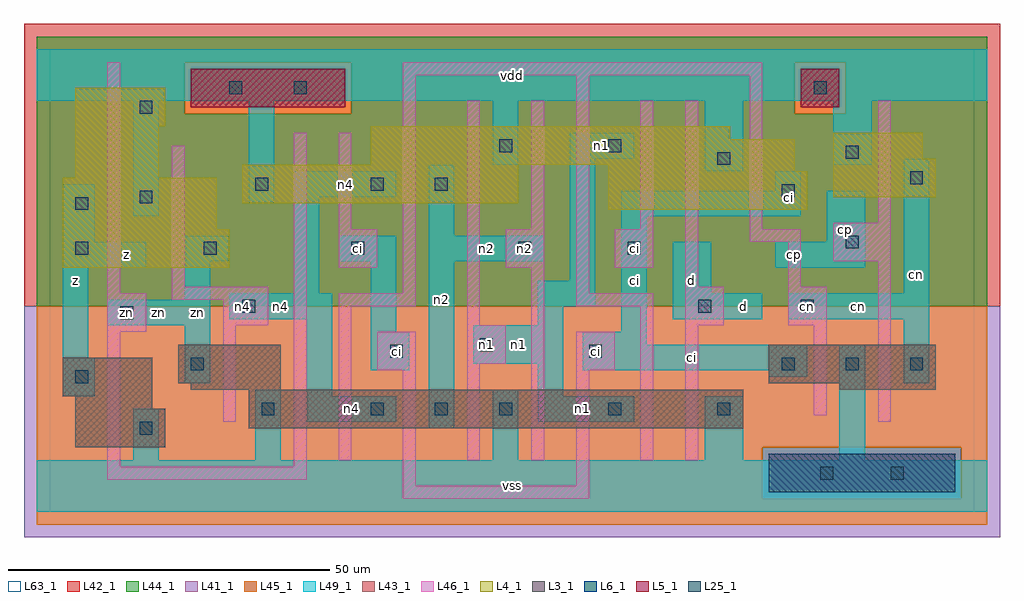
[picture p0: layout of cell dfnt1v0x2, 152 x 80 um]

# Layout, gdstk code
import gdstk
lib = gdstk.Library(unit=1e-6, precision=1e-09)
def R(c, l, rs):  # rectangles x0, y0, x1, y1
    for r in rs: c.add(gdstk.rectangle(r[:2], r[2:], *l))
def A(c, l, x, y, w, h, nx, ny, dx, dy):  # array of equal rectangles
    R(c, l, [(x+i*dx, y+j*dy, x+i*dx+w, y+j*dy+h) for i in range(nx) for j in range(ny)])
L3_1 = (3, 1)
L4_1 = (4, 1)
L5_1 = (5, 1)
L6_1 = (6, 1)
L25_1 = (25, 1)
L41_1 = (41, 1)
L42_1 = (42, 1)
L43_1 = (43, 1)
L44_1 = (44, 1)
L45_1 = (45, 1)
L46_1 = (46, 1)
L49_1 = (49, 1)
L63_1 = (63, 1)

dfnt1v0x2 = lib.new_cell('dfnt1v0x2')
R(dfnt1v0x2, L3_1, [(4,10,18,16), (31,13,108,19), (4,16,16,18), (2,18,16,24), (22,19,36,20), (123,19,138,20), (20,20,36,26), (112,20,138,26)])
R(dfnt1v0x2, L4_1, [(2,38,28,44), (2,44,26,52), (87,47,118,53), (30,48,73,54), (122,49,138,55), (4,52,17,60), (87,53,116,54), (50,54,116,58), (122,55,136,59), (50,58,106,60), (4,60,18,66)])
R(dfnt1v0x2, L5_1, [(22,63,46,69), (117,63,123,69)])
R(dfnt1v0x2, L6_1, [(112,3,141,9), (112,3,141,9)])
A(dfnt1v0x2, L25_1, 50, 15, 2, 2, 3, 1, 10, 0)
A(dfnt1v0x2, L25_1, 114, 22, 2, 2, 3, 1, 10, 0)
R(dfnt1v0x2, L25_1, [(120,5,122,7), (131,5,133,7), (14,12,16,14), (33,15,35,17), (87,15,89,17), (104,15,106,17), (4,20,6,22), (22,22,24,24), (53,24,55,26), (84,24,86,26), (67,25,69,27), (11,30,13,32), (30,31,32,33), (101,31,103,33), (117,31,119,33), (4,40,6,42), (24,40,26,42), (47,40,49,42), (73,40,75,42), (90,40,92,42), (124,41,126,43), (4,47,6,49), (14,48,16,50), (114,49,116,51), (32,50,34,52), (50,50,52,52), (60,50,62,52), (134,51,136,53), (104,54,106,56), (124,55,126,57), (70,56,72,58), (87,56,89,58), (14,62,16,64), (28,65,30,67), (38,65,40,67), (119,65,121,67)])
R(dfnt1v0x2, L41_1, [(-4,-4,148,32)])
R(dfnt1v0x2, L42_1, [(-4,32,148,76)])
R(dfnt1v0x2, L43_1, [(112,3,141,9), (4,10,18,16), (31,13,108,19), (4,16,16,18), (2,18,16,24), (22,19,36,20), (123,19,138,20), (20,20,36,26), (112,20,138,26), (2,38,28,44), (2,44,26,52), (87,47,118,53), (30,48,73,54), (122,49,138,55), (4,52,17,60), (87,53,116,54), (50,54,116,58), (122,55,136,59), (50,58,106,60), (4,60,18,66), (22,63,46,69), (117,63,123,69)])
R(dfnt1v0x2, L44_1, [(111,2,142,10), (-2,32,146,62), (-2,62,21,70), (47,62,116,70), (124,62,146,70), (-2,70,146,74)])
R(dfnt1v0x2, L45_1, [(-2,-2,146,2), (-2,2,111,10), (142,2,146,10), (-2,10,146,32), (21,62,47,70), (116,62,124,70)])
R(dfnt1v0x2, L46_1, [(55,2,84,4), (55,4,57,22), (82,4,84,22), (9,5,40,7), (9,7,11,28), (38,7,40,59), (45,8,47,32), (65,8,67,23), (75,8,77,38), (92,8,94,32), (99,8,101,29), (27,14,29,29), (129,14,131,39), (119,15,121,29), (51,22,57,28), (82,22,88,28), (65,23,71,29), (9,28,15,34), (27,29,34,33), (65,29,67,64), (99,29,105,35), (115,29,121,35), (45,32,57,34), (82,32,94,34), (19,33,34,35), (9,34,11,70), (55,34,57,68), (82,34,84,68), (19,35,21,57), (99,35,101,64), (115,35,117,42), (45,38,51,44), (71,38,77,44), (88,38,94,44), (122,39,131,45), (109,42,117,44), (45,44,47,59), (75,44,77,64), (92,44,94,64), (109,44,111,68), (129,45,131,64), (55,68,111,70)])
R(dfnt1v0x2, L49_1, [(-2,0,146,8), (13,8,17,16), (32,8,36,19), (69,8,73,19), (102,8,108,18), (123,8,127,26), (59,13,63,39), (40,14,54,18), (76,14,91,18), (2,18,7,24), (40,18,44,30), (76,18,80,23), (21,20,25,29), (133,20,137,30), (112,21,118,22), (50,22,56,28), (83,22,118,26), (66,23,80,29), (2,24,6,38), (83,26,93,28), (50,28,54,39), (89,28,93,46), (9,29,25,33), (76,29,80,32), (28,30,44,34), (97,30,111,34), (115,30,137,34), (76,32,85,36), (21,33,25,39), (38,34,42,49), (97,34,103,42), (133,34,137,55), (81,36,85,55), (2,38,15,42), (113,38,127,42), (21,39,28,43), (45,39,54,43), (59,39,77,43), (2,42,7,51), (121,42,127,50), (59,43,63,54), (13,46,17,64), (89,46,117,50), (31,48,35,64), (38,49,54,53), (113,50,117,53), (102,53,108,64), (69,54,73,64), (122,54,128,64), (81,55,91,59), (-2,64,146,72)])
R(dfnt1v0x2, L63_1, [(0,0,144,72)])
dfnt1v0x2.add(gdstk.Label('zn', (12,31), layer=49, texttype=1))
dfnt1v0x2.add(gdstk.Label('n4', (30,32), layer=49, texttype=1))
dfnt1v0x2.add(gdstk.Label('ci', (54,25), layer=49, texttype=1))
dfnt1v0x2.add(gdstk.Label('ci', (48,41), layer=49, texttype=1))
dfnt1v0x2.add(gdstk.Label('n1', (68,26), layer=49, texttype=1))
dfnt1v0x2.add(gdstk.Label('ci', (85,25), layer=49, texttype=1))
dfnt1v0x2.add(gdstk.Label('ci', (91,41), layer=49, texttype=1))
dfnt1v0x2.add(gdstk.Label('n2', (74,41), layer=49, texttype=1))
dfnt1v0x2.add(gdstk.Label('cn', (118,32), layer=49, texttype=1))
dfnt1v0x2.add(gdstk.Label('zn', (17,31), layer=49, texttype=1))
dfnt1v0x2.add(gdstk.Label('z', (4,36), layer=49, texttype=1))
dfnt1v0x2.add(gdstk.Label('z', (12,40), layer=49, texttype=1))
dfnt1v0x2.add(gdstk.Label('zn', (23,31), layer=49, texttype=1))
dfnt1v0x2.add(gdstk.Label('n4', (47,16), layer=49, texttype=1))
dfnt1v0x2.add(gdstk.Label('ci', (53,25), layer=49, texttype=1))
dfnt1v0x2.add(gdstk.Label('n4', (36,32), layer=49, texttype=1))
dfnt1v0x2.add(gdstk.Label('ci', (49,41), layer=49, texttype=1))
dfnt1v0x2.add(gdstk.Label('n4', (46,51), layer=49, texttype=1))
dfnt1v0x2.add(gdstk.Label('vss', (72,4), layer=49, texttype=1))
dfnt1v0x2.add(gdstk.Label('n1', (73,26), layer=49, texttype=1))
dfnt1v0x2.add(gdstk.Label('n2', (68,41), layer=49, texttype=1))
dfnt1v0x2.add(gdstk.Label('n2', (61,33), layer=49, texttype=1))
dfnt1v0x2.add(gdstk.Label('vdd', (72,68), layer=49, texttype=1))
dfnt1v0x2.add(gdstk.Label('n1', (83,16), layer=49, texttype=1))
dfnt1v0x2.add(gdstk.Label('d', (108,32), layer=49, texttype=1))
dfnt1v0x2.add(gdstk.Label('d', (100,36), layer=49, texttype=1))
dfnt1v0x2.add(gdstk.Label('ci', (91,36), layer=49, texttype=1))
dfnt1v0x2.add(gdstk.Label('n1', (86,57), layer=49, texttype=1))
dfnt1v0x2.add(gdstk.Label('ci', (100,24), layer=49, texttype=1))
dfnt1v0x2.add(gdstk.Label('cn', (126,32), layer=49, texttype=1))
dfnt1v0x2.add(gdstk.Label('cp', (116,40), layer=49, texttype=1))
dfnt1v0x2.add(gdstk.Label('cp', (124,44), layer=49, texttype=1))
dfnt1v0x2.add(gdstk.Label('cn', (135,37), layer=49, texttype=1))
dfnt1v0x2.add(gdstk.Label('ci', (115,49), layer=49, texttype=1))

lib.write_gds('dfnt1v0x2.gds')
